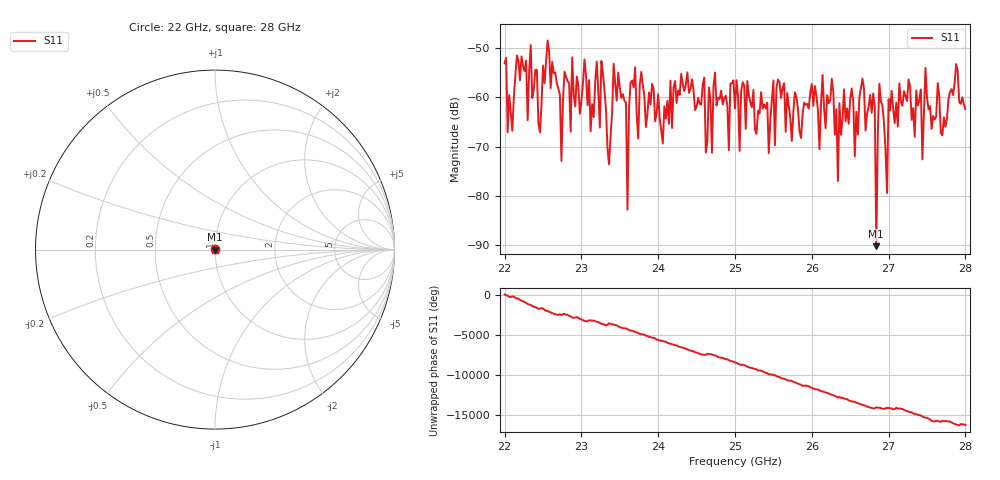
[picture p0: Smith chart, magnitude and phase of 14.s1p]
#  HZ  S  RI  R  50.00
! Rohde & Schwarz ZVA40 4Ports - Version 3.90 - 1145.1110k42 SN: 100403
! Date: 2023-10-04 11:42:25
! Measurement: S12
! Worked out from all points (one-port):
!   301 points, 22 GHz to 28 GHz, reference 50 ohm
!   lowest |S11| = -90.3 dB at 26.84 GHz (marker M1), VSWR 1.00, Z = 50 - j0.000442 ohm
!   |S11| at or under -10 dB: start of sweep to end of sweep
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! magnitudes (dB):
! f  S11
! 22 GHz  -53.0
! 22.04 GHz  -67.1
! 22.34 GHz  -49.3
! 22.76 GHz  -60.6
! 23.26 GHz  -52.6
! 23.36 GHz  -73.6
! 23.42 GHz  -53.1
! 23.5 GHz  -58.0
! 23.58 GHz  -61.0
! 23.6 GHz  -82.9
! 23.7 GHz  -53.8
! 23.74 GHz  -68.4
! 24.26 GHz  -58.6
! 25 GHz  -62.3
! 25.76 GHz  -62.8
! 26.26 GHz  -56.2
! 26.34 GHz  -77.0
! 26.36 GHz  -61.2
! 26.5 GHz  -60.4
! 26.8 GHz  -59.2
! 26.84 GHz  -90.3
! 26.88 GHz  -57.2
! 26.98 GHz  -79.5
! 27 GHz  -60.4
! 27.26 GHz  -56.4
! 27.44 GHz  -72.6
! 27.48 GHz  -54.0
! 28 GHz  -62.4
